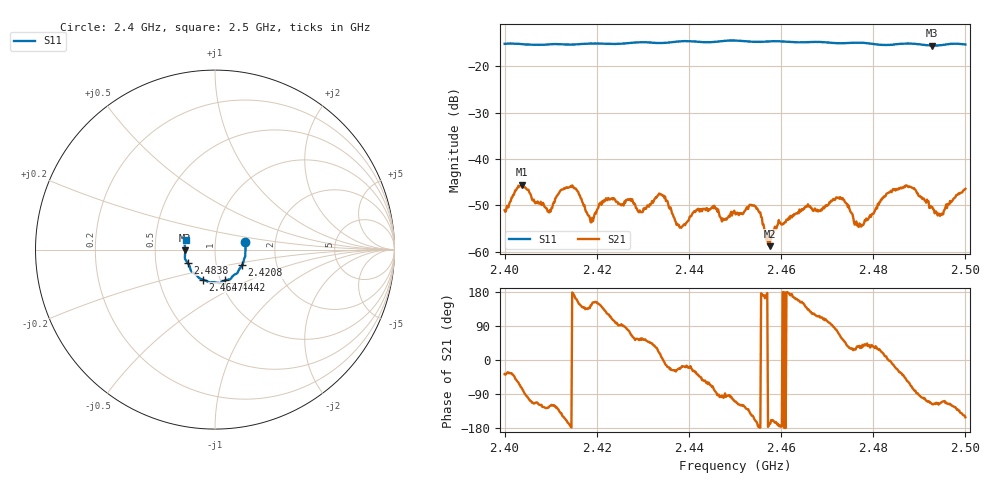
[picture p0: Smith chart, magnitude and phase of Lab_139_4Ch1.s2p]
# Hz S RI R 50
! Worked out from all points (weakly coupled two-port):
!   601 points, 2.4 GHz to 2.5 GHz, reference 50 ohm
!   highest |S21| = -45.55 dB at 2.4038 GHz (marker M1); lowest = -58.8 dB at 2.4575 GHz (marker M2)
!   lowest |S11| = -15.6 dB at 2.4928 GHz (marker M3), VSWR 1.40, Z = 35.8 - j0.361 ohm
!   |S11| at or under -10 dB: start of sweep to end of sweep
!   S12 and S22 are empty: the file has one direction only
!   S11 on the Smith chart (normalised r, x): 2.4 GHz: 1.40, +0.12; 2.4208 GHz: 1.33, -0.24; 2.4442 GHz: 1.05, -0.37; 2.4647 GHz: 0.83, -0.29; 2.4838 GHz: 0.73, -0.11; 2.5 GHz: 0.72, +0.08
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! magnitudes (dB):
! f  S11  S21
! 2.4 GHz  -15.2  -51.0
! 2.4038 GHz  -15.3  -45.5
! 2.4095 GHz  -15.3  -51.3
! 2.413 GHz  -15.3  -46.2
! 2.4167 GHz  -15.3  -48.6
! 2.4188 GHz  -15.2  -53.6
! 2.4208 GHz  -15.2  -49.4
! 2.4295 GHz  -14.9  -51.4
! 2.4333 GHz  -15.1  -47.8
! 2.4382 GHz  -14.7  -54.7
! 2.4442 GHz  -14.9  -51.2
! 2.45 GHz  -14.5  -51.7
! 2.4543 GHz  -14.8  -50.2
! 2.4575 GHz  -14.7  -58.8
! 2.4647 GHz  -14.9  -51.0
! 2.4667 GHz  -14.8  -50.6
! 2.4728 GHz  -15.1  -48.2
! 2.4773 GHz  -15.0  -54.6
! 2.4833 GHz  -15.5  -47.3
! 2.4838 GHz  -15.4  -46.8
! 2.4928 GHz  -15.6  -50.4
! 2.5 GHz  -15.3  -46.4
